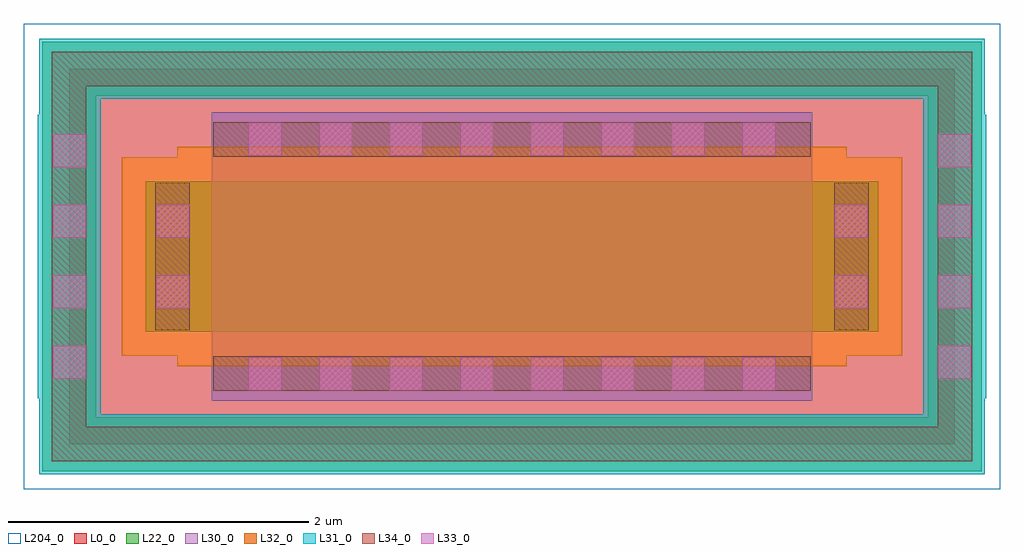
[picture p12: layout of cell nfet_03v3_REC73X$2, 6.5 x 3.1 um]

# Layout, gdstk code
import gdstk
lib = gdstk.Library(unit=1e-6, precision=1e-09)
def R(c, l, rs):  # rectangles x0, y0, x1, y1
    for r in rs: c.add(gdstk.rectangle(r[:2], r[2:], *l))
def A(c, l, x, y, w, h, nx, ny, dx, dy):  # array of equal rectangles
    R(c, l, [(x+i*dx, y+j*dy, x+i*dx+w, y+j*dy+h) for i in range(nx) for j in range(ny)])
L0_0 = (0, 0)
L22_0 = (22, 0)
L30_0 = (30, 0)
L31_0 = (31, 0)
L32_0 = (32, 0)
L33_0 = (33, 0)
L34_0 = (34, 0)
L204_0 = (204, 0)

nfet_03v3_rec73x_2 = lib.new_cell('nfet_03v3_REC73X$2')
R(nfet_03v3_rec73x_2, L0_0, [(-2.95,-1.25,2.95,1.25)])
R(nfet_03v3_rec73x_2, L22_0, [(-3.13,-1.43,3.13,-1.07), (-3.13,-1.07,-2.77,1.07), (2.77,-1.07,3.13,1.07), (-2.44,-0.5,2.44,0.5), (-3.13,1.07,3.13,1.43)])
R(nfet_03v3_rec73x_2, L30_0, [(-2,-0.96,2,0.96)])
R(nfet_03v3_rec73x_2, L31_0, [(-3.15,-1.45,3.15,-1.05), (-3.15,-1.05,-2.74,-0.945), (2.74,-1.05,3.15,-0.945), (-3.16,-0.945,-2.74,0.945), (2.74,-0.945,3.16,0.945), (-3.15,0.945,-2.74,1.05), (2.74,0.945,3.15,1.05), (-3.15,1.05,3.15,1.45)])
R(nfet_03v3_rec73x_2, L32_0, [(-2.23,-0.73,2.23,-0.66), (-2.6,-0.66,2.6,0.66), (-2.23,0.66,2.23,0.73)])
A(nfet_03v3_rec73x_2, L33_0, -1.755, -0.89, 0.22, 0.22, 8, 2, 0.47, 1.56)
A(nfet_03v3_rec73x_2, L33_0, -3.06, -0.815, 0.22, 0.22, 1, 4, 0, 0.47)
A(nfet_03v3_rec73x_2, L33_0, 2.84, -0.815, 0.22, 0.22, 1, 4, 0, 0.47)
R(nfet_03v3_rec73x_2, L33_0, [(-2.37,-0.345,-2.15,-0.125), (2.15,-0.345,2.37,-0.125), (-2.37,0.125,-2.15,0.345), (2.15,0.125,2.37,0.345)])
R(nfet_03v3_rec73x_2, L34_0, [(-3.065,-1.365,3.065,-1.135), (-3.065,-1.135,-2.835,1.135), (2.835,-1.135,3.065,1.135), (-1.99,-0.895,1.99,-0.665), (-2.375,-0.49,-2.145,0.49), (2.145,-0.49,2.375,0.49), (-1.99,0.665,1.99,0.895), (-3.065,1.135,3.065,1.365)])
R(nfet_03v3_rec73x_2, L204_0, [(-3.25,-1.55,3.25,1.55)])

lib.write_gds('nfet_03v3_REC73X_2.gds')
